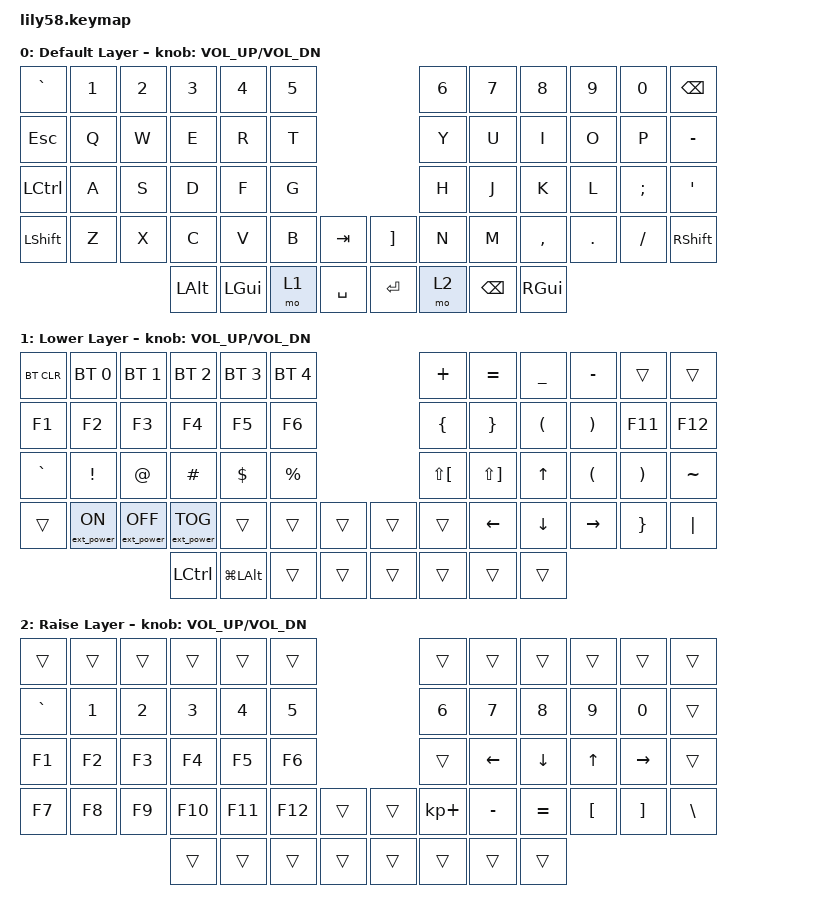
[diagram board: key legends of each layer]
/*
 * Copyright (c) 2020 The ZMK Contributors
 *
 * SPDX-License-Identifier: MIT
 */

#include <behaviors.dtsi>
#include <dt-bindings/zmk/bt.h>
#include <dt-bindings/zmk/ext_power.h>
#include <dt-bindings/zmk/keys.h>

/ {
    keymap {
        compatible = "zmk,keymap";

        default_layer {
            display-name = "Default Layer";

            // ------------------------------------------------------------------------------------------------------------
            // |  ESC  |  1  |  2  |  3   |  4   |  5   |                   |  6   |  7    |  8    |  9   |   0   |   `   |
            // |  TAB  |  Q  |  W  |  E   |  R   |  T   |                   |  Y   |  U    |  I    |  O   |   P   |   -   |
            // |  CTRL |  A  |  S  |  D   |  F   |  G   |                   |  H   |  J    |  K    |  L   |   ;   |   '   |
            // | SHIFT |  Z  |  X  |  C   |  V   |  B   |   "["  |  |  "]"  |  N   |  M    |  ,    |  .   |   /   | SHIFT |
            //                     | ALT  | GUI  | LOWER|  SPACE |  | ENTER | RAISE| BSPC  | GUI   |

            bindings = <
&kp GRAVE   &kp N1  &kp N2  &kp N3    &kp N4    &kp N5                         &kp N6  &kp N7    &kp N8     &kp N9   &kp N0    &kp BACKSPACE
&kp ESCAPE  &kp Q   &kp W   &kp E     &kp R     &kp T                          &kp Y   &kp U     &kp I      &kp O    &kp P     &kp MINUS
&kp LCTRL   &kp A   &kp S   &kp D     &kp F     &kp G                          &kp H   &kp J     &kp K      &kp L    &kp SEMI  &kp SQT
&kp LSHFT   &kp Z   &kp X   &kp C     &kp V     &kp B   &kp TAB      &kp RBKT  &kp N   &kp M     &kp COMMA  &kp DOT  &kp FSLH  &kp RSHFT
                            &kp LALT  &kp LGUI  &mo 1   &kp SPACE    &kp RET   &mo 2   &kp BSPC  &kp RGUI
            >;

            sensor-bindings = <&inc_dec_kp C_VOL_UP C_VOL_DN>;
        };

        lower_layer {
            display-name = "Lower Layer";

            // ------------------------------------------------------------------------------------------------------------
            // | BTCLR | BT1 | BT2 |  BT3 |  BT4 |  BT5 |                   |      |       |       |      |       |       |
            // |  F1   |  F2 |  F3 |  F4  |  F5  |  F6  |                   |  F7  |  F8   |  F9   |  F10 |  F11  |  F12  |
            // |   `   |  !  |  @  |  #   |  $   |  %   |                   |  ^   |  &    |  *    |  (   |   )   |   ~   |
            // |       |     |     |      |      |      |        |  |       |      |  _    |  +    |  {   |   }   |  "|"  |
            //                     |      |      |      |        |  |       |      |       |       |

            bindings = <
&bt BT_CLR  &bt BT_SEL 0      &bt BT_SEL 1       &bt BT_SEL 2       &bt BT_SEL 3      &bt BT_SEL 4                    &kp PLUS              &kp EQUAL              &kp UNDERSCORE        &kp MINUS              &trans    &trans
&kp F1      &kp F2            &kp F3             &kp F4             &kp F5            &kp F6                          &kp LEFT_BRACE        &kp RIGHT_BRACE        &kp LEFT_PARENTHESIS  &kp RIGHT_PARENTHESIS  &kp F11   &kp F12
&kp GRAVE   &kp EXCL          &kp AT             &kp HASH           &kp DOLLAR        &kp PRCNT                       &kp LS(LEFT_BRACKET)  &kp LS(RIGHT_BRACKET)  &kp UP_ARROW          &kp LPAR               &kp RPAR  &kp TILDE
&trans      &ext_power EP_ON  &ext_power EP_OFF  &ext_power EP_TOG  &trans            &trans        &trans    &trans  &trans                &kp LEFT               &kp DOWN              &kp RIGHT              &kp RBRC  &kp PIPE
                                                 &kp LEFT_CONTROL   &kp LG(LEFT_ALT)  &trans        &trans    &trans  &trans                &trans                 &trans
            >;

            sensor-bindings = <&inc_dec_kp C_VOL_UP C_VOL_DN>;
        };

        raise_layer {
            display-name = "Raise Layer";

            // ------------------------------------------------------------------------------------------------------------
            // |       |     |     |      |      |      |                   |      |       |       |      |       |       |
            // |   `   |  1  |  2  |  3   |  4   |  5   |                   |  6   |   7   |   8   |  9   |   0   |       |
            // |   F1  |  F2 |  F3 |  F4  |  F5  |  F6  |                   |      |   <-  |   v   |  ^   |  ->   |       |
            // |   F7  |  F8 |  F9 |  F10 |  F11 |  F12 |        |  |       |  +   |   -   |   =   |  [   |   ]   |   \   |
            //                     |      |      |      |        |  |       |      |       |       |

            bindings = <
&trans     &trans  &trans  &trans   &trans   &trans                     &trans       &trans     &trans     &trans    &trans     &trans
&kp GRAVE  &kp N1  &kp N2  &kp N3   &kp N4   &kp N5                     &kp N6       &kp N7     &kp N8     &kp N9    &kp N0     &trans
&kp F1     &kp F2  &kp F3  &kp F4   &kp F5   &kp F6                     &trans       &kp LEFT   &kp DOWN   &kp UP    &kp RIGHT  &trans
&kp F7     &kp F8  &kp F9  &kp F10  &kp F11  &kp F12  &trans    &trans  &kp KP_PLUS  &kp MINUS  &kp EQUAL  &kp LBKT  &kp RBKT   &kp BSLH
                           &trans   &trans   &trans   &trans    &trans  &trans       &trans     &trans
            >;

            sensor-bindings = <&inc_dec_kp C_VOL_UP C_VOL_DN>;
        };
    };
};
